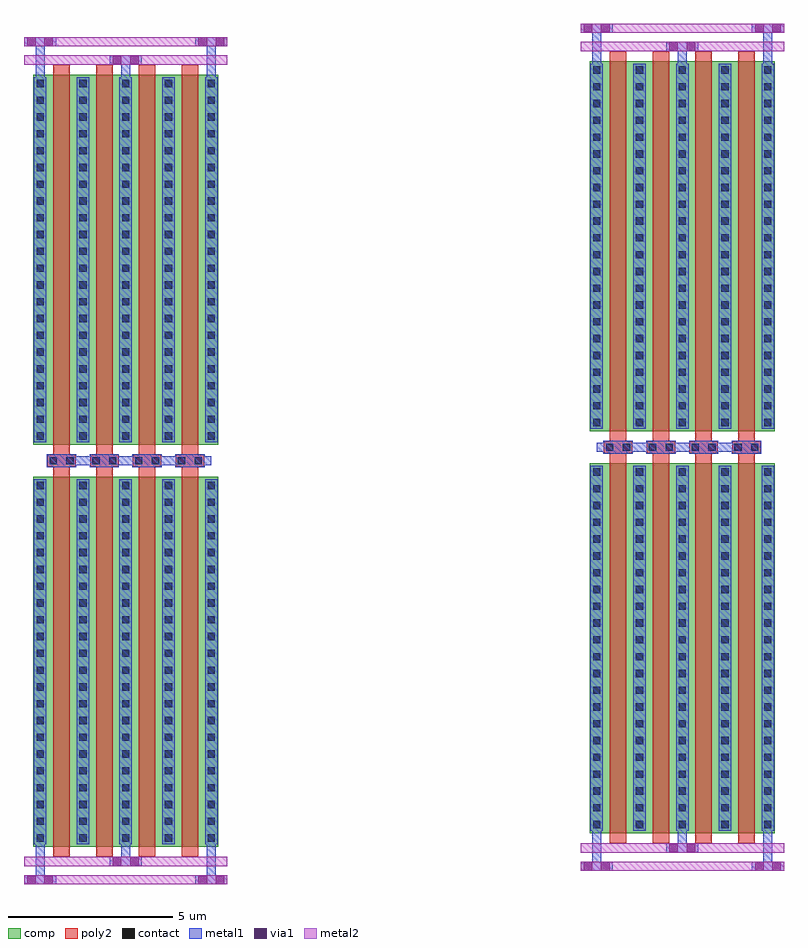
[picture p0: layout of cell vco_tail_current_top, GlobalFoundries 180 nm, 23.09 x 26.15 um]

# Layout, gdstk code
from math import pi, radians
import gdstk
lib = gdstk.Library(unit=1e-6, precision=5e-09)
def R(c, l, rs):  # rectangles x0, y0, x1, y1
    for r in rs: c.add(gdstk.rectangle(r[:2], r[2:], *l))
def A(c, l, x, y, w, h, nx, ny, dx, dy):  # array of equal rectangles
    R(c, l, [(x+i*dx, y+j*dy, x+i*dx+w, y+j*dy+h) for i in range(nx) for j in range(ny)])
comp = (22, 0)
poly2 = (30, 0)
contact = (33, 0)
metal1 = (34, 0)
via1 = (35, 0)
metal2 = (36, 0)

vco_tail_current_ncell_1 = lib.new_cell('vco_tail_current_ncell_1$1$1')
R(vco_tail_current_ncell_1, comp, [(0,0.3,0.42,11.55), (0.42,0.3,1.3,11.55), (1.3,0.3,1.72,11.55)])
R(vco_tail_current_ncell_1, poly2, [(0.61,0,1.11,11.85)])
A(vco_tail_current_ncell_1, contact, 0.1, 0.46, 0.22, 0.22, 1, 22, 0, 0.51)
A(vco_tail_current_ncell_1, contact, 1.4, 0.46, 0.22, 0.22, 1, 22, 0, 0.51)
R(vco_tail_current_ncell_1, metal1, [(0.02,0.38,0.4,11.47), (1.32,0.38,1.7,11.47)])

vco_tail_current_ncell_4 = lib.new_cell('vco_tail_current_ncell_4$1')
A(vco_tail_current_ncell_4, poly2, 0.425, 11.85, 0.87, 0.36, 4, 1, 1.3, 0)
R(vco_tail_current_ncell_4, contact, [(0.495,11.92,0.715,12.14), (1.005,11.92,1.225,12.14), (1.795,11.92,2.015,12.14), (2.305,11.92,2.525,12.14), (3.095,11.92,3.315,12.14), (3.605,11.92,3.825,12.14), (4.395,11.92,4.615,12.14), (4.905,11.92,5.125,12.14)])
A(vco_tail_current_ncell_4, metal1, 0.415, 11.84, 0.89, 0.38, 4, 1, 1.3, 0)
vco_tail_current_ncell_4.add(gdstk.Reference(vco_tail_current_ncell_1, (0,0)))
vco_tail_current_ncell_4.add(gdstk.Reference(vco_tail_current_ncell_1, (1.3,0)))
vco_tail_current_ncell_4.add(gdstk.Reference(vco_tail_current_ncell_1, (2.6,0)))
vco_tail_current_ncell_4.add(gdstk.Reference(vco_tail_current_ncell_1, (3.9,0)))

c_vco_tail_current_ncell_4 = lib.new_cell('vco_tail_current_ncell_4_2')
R(c_vco_tail_current_ncell_4, via1, [(0.1,0.01,0.36,0.27), (0.62,0.01,0.88,0.27), (5.3,0.01,5.56,0.27), (5.82,0.01,6.08,0.27), (2.7,0.57,2.96,0.83), (3.22,0.57,3.48,0.83), (2.7,24.91,2.96,25.17), (3.22,24.91,3.48,25.17), (0.1,25.47,0.36,25.73), (0.62,25.47,0.88,25.73), (5.3,25.47,5.56,25.73), (5.82,25.47,6.08,25.73)])
c_vco_tail_current_ncell_4.add(gdstk.FlexPath([(2.6,25.04),(3.58,25.04)], 0.28, ends="flush", simple_path=True, layer=34, datatype=0))  # metal1
c_vco_tail_current_ncell_4.add(gdstk.FlexPath([(3.09,24.52),(3.09,24.9)], 0.28, ends="flush", simple_path=True, layer=34, datatype=0))  # metal1
c_vco_tail_current_ncell_4.add(gdstk.FlexPath([(5.2,25.6),(6.18,25.6)], 0.28, ends="flush", simple_path=True, layer=34, datatype=0))  # metal1
c_vco_tail_current_ncell_4.add(gdstk.FlexPath([(5.69,24.52),(5.69,25.46)], 0.28, ends="flush", simple_path=True, layer=34, datatype=0))  # metal1
c_vco_tail_current_ncell_4.add(gdstk.FlexPath([(0,25.6),(0.98,25.6)], 0.28, ends="flush", simple_path=True, layer=34, datatype=0))  # metal1
c_vco_tail_current_ncell_4.add(gdstk.FlexPath([(0.49,24.52),(0.49,25.46)], 0.28, ends="flush", simple_path=True, layer=34, datatype=0))  # metal1
c_vco_tail_current_ncell_4.add(gdstk.FlexPath([(2.6,0.7),(3.58,0.7)], 0.28, ends="flush", simple_path=True, layer=34, datatype=0))  # metal1
c_vco_tail_current_ncell_4.add(gdstk.FlexPath([(3.09,1.22),(3.09,0.84)], 0.28, ends="flush", simple_path=True, layer=34, datatype=0))  # metal1
c_vco_tail_current_ncell_4.add(gdstk.FlexPath([(5.2,0.14),(6.18,0.14)], 0.28, ends="flush", simple_path=True, layer=34, datatype=0))  # metal1
c_vco_tail_current_ncell_4.add(gdstk.FlexPath([(5.69,1.22),(5.69,0.28)], 0.28, ends="flush", simple_path=True, layer=34, datatype=0))  # metal1
c_vco_tail_current_ncell_4.add(gdstk.FlexPath([(0,0.14),(0.98,0.14)], 0.28, ends="flush", simple_path=True, layer=34, datatype=0))  # metal1
c_vco_tail_current_ncell_4.add(gdstk.FlexPath([(0.49,1.22),(0.49,0.28)], 0.28, ends="flush", simple_path=True, layer=34, datatype=0))  # metal1
c_vco_tail_current_ncell_4.add(gdstk.FlexPath([(4.595,12.87),(0.49,12.87)], 0.28, ends="flush", simple_path=True, layer=34, datatype=0))  # metal1
c_vco_tail_current_ncell_4.add(gdstk.FlexPath([(0,25.04),(6.18,25.04)], 0.28, ends="flush", simple_path=True, layer=36, datatype=0))  # metal2
c_vco_tail_current_ncell_4.add(gdstk.FlexPath([(0,25.6),(6.18,25.6)], 0.28, ends="flush", simple_path=True, layer=36, datatype=0))  # metal2
c_vco_tail_current_ncell_4.add(gdstk.FlexPath([(0,0.7),(6.18,0.7)], 0.28, ends="flush", simple_path=True, layer=36, datatype=0))  # metal2
c_vco_tail_current_ncell_4.add(gdstk.FlexPath([(0,0.14),(6.18,0.14)], 0.28, ends="flush", simple_path=True, layer=36, datatype=0))  # metal2
c_vco_tail_current_ncell_4.add(gdstk.Reference(vco_tail_current_ncell_4, (0.28,0.84)))
c_vco_tail_current_ncell_4.add(gdstk.Reference(vco_tail_current_ncell_4, (0.28,24.9), x_reflection=True))

vco_tail_current_top = lib.new_cell('vco_tail_current_top')
vco_tail_current_top.add(gdstk.Reference(c_vco_tail_current_ncell_4, (16.345,0)))
vco_tail_current_top.add(gdstk.Reference(c_vco_tail_current_ncell_4, (5.62,25.33), rotation=pi))

lib.write_gds('vco_tail_current_top.gds')
